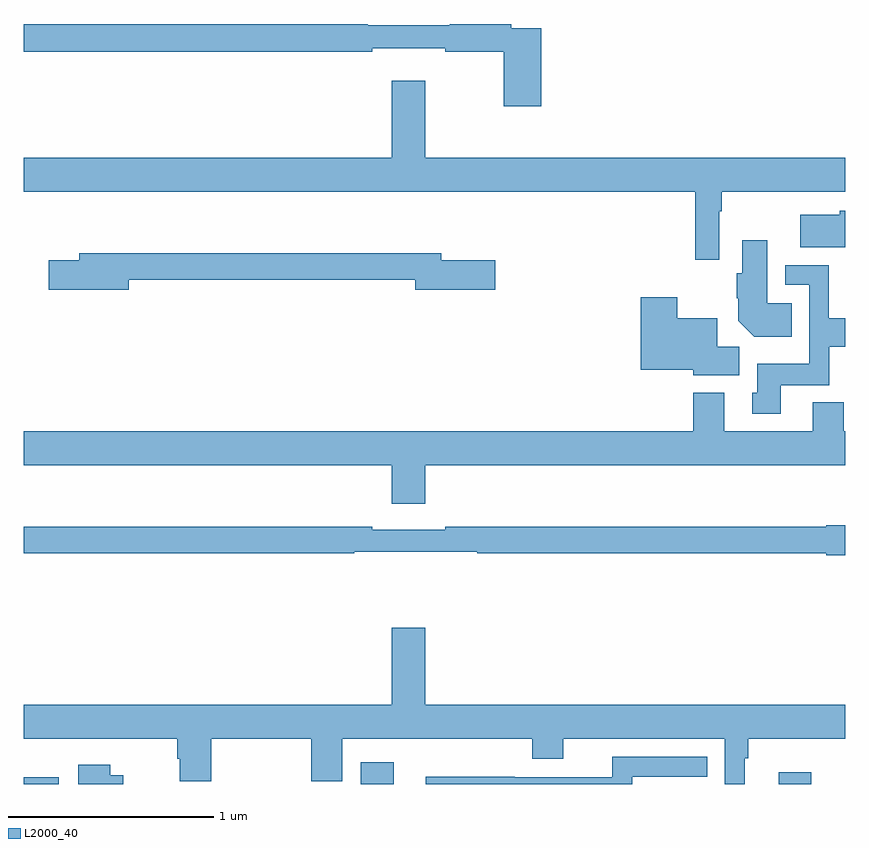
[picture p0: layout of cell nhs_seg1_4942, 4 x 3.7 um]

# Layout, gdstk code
import gdstk
lib = gdstk.Library(unit=1e-6, precision=1e-09)
def R(c, l, rs):  # rectangles x0, y0, x1, y1
    for r in rs: c.add(gdstk.rectangle(r[:2], r[2:], *l))
def P(c, l, *ps):  # polygons
    for p in ps: c.add(gdstk.Polygon(p, *l))
L2000_40 = (2000, 40)

nhs_seg1_4942 = lib.new_cell('nhs_seg1_4942')
R(nhs_seg1_4942, L2000_40, [(379,530.199,379.17,530.232), (380.64,530.199,380.801,530.305), (382.676,530.199,382.835,530.257)])
P(nhs_seg1_4942, L2000_40, [(381.521,533.88),(381.374,533.88),(381.374,533.9),(381.074,533.9),(381.074,533.893),(380.674,533.893),(380.674,533.9),(379,533.9),(379,533.764),(380.696,533.764),(380.696,533.783),(381.052,533.783),(381.052,533.764),(381.338,533.764),(381.338,533.499),(381.521,533.499)],
  [(382.386,532.988),(382.399,532.988),(382.399,533.084),(383,533.084),(383,533.248),(380.956,533.248),(380.956,533.623),(380.792,533.623),(380.792,533.248),(379,533.248),(379,533.084),(382.27,533.084),(382.27,532.752),(382.386,532.752)],
  [(383,532.99),(382.974,532.99),(382.974,532.972),(382.782,532.972),(382.782,532.814),(383,532.814)],
  [(382.739,532.54),(382.621,532.54),(382.621,532.846),(382.499,532.846),(382.499,532.686),(382.471,532.686),(382.471,532.564),(382.478,532.564),(382.478,532.454),(382.556,532.376),(382.739,532.376)],
  [(379.51,532.654),(380.906,532.654),(380.906,532.607),(381.295,532.607),(381.295,532.749),(381.034,532.749),(381.034,532.783),(379.271,532.783),(379.271,532.749),(379.122,532.749),(379.122,532.607),(379.51,532.607)],
  [(382.687,532.142),(382.923,532.142),(382.923,532.328),(383,532.328),(383,532.468),(382.92,532.468),(382.92,532.725),(382.707,532.725),(382.707,532.629),(382.824,532.629),(382.824,532.246),(382.571,532.246),(382.571,532.104),(382.547,532.104),(382.547,532.002),(382.687,532.002)],
  [(382.483,532.328),(382.378,532.328),(382.378,532.468),(382.182,532.468),(382.182,532.57),(382.004,532.57),(382.004,532.217),(382.26,532.217),(382.26,532.19),(382.483,532.19)],
  [(380.956,531.752),(383,531.752),(383,531.916),(382.994,531.916),(382.994,532.057),(382.841,532.057),(382.841,531.916),(382.411,531.916),(382.411,532.105),(382.259,532.105),(382.259,531.916),(379,531.916),(379,531.752),(380.792,531.752),(380.792,531.564),(380.956,531.564)],
  [(383,531.459),(382.908,531.459),(382.908,531.451),(381.052,531.451),(381.052,531.438),(380.696,531.438),(380.696,531.451),(379,531.451),(379,531.322),(380.608,531.322),(380.608,531.33),(381.208,531.33),(381.208,531.322),(382.908,531.322),(382.908,531.314),(383,531.314)],
  [(382.51,530.324),(382.529,530.324),(382.529,530.42),(383,530.42),(383,530.584),(380.956,530.584),(380.956,530.959),(380.792,530.959),(380.792,530.584),(379,530.584),(379,530.42),(379.748,530.42),(379.748,530.322),(379.76,530.322),(379.76,530.212),(379.913,530.212),(379.913,530.42),(380.399,530.42),(380.399,530.212),(380.551,530.212),(380.551,530.42),(381.476,530.42),(381.476,530.321),(381.628,530.321),(381.628,530.42),(382.413,530.42),(382.413,530.199),(382.51,530.199)],
  [(381.964,530.235),(382.328,530.235),(382.328,530.331),(381.865,530.331),(381.865,530.232),(381.392,530.232),(381.392,530.234),(380.958,530.234),(380.958,530.199),(381.964,530.199)],
  [(379.484,530.241),(379.422,530.241),(379.422,530.293),(379.266,530.293),(379.266,530.199),(379.484,530.199)])

lib.write_gds('nhs_seg1_4942.gds')
